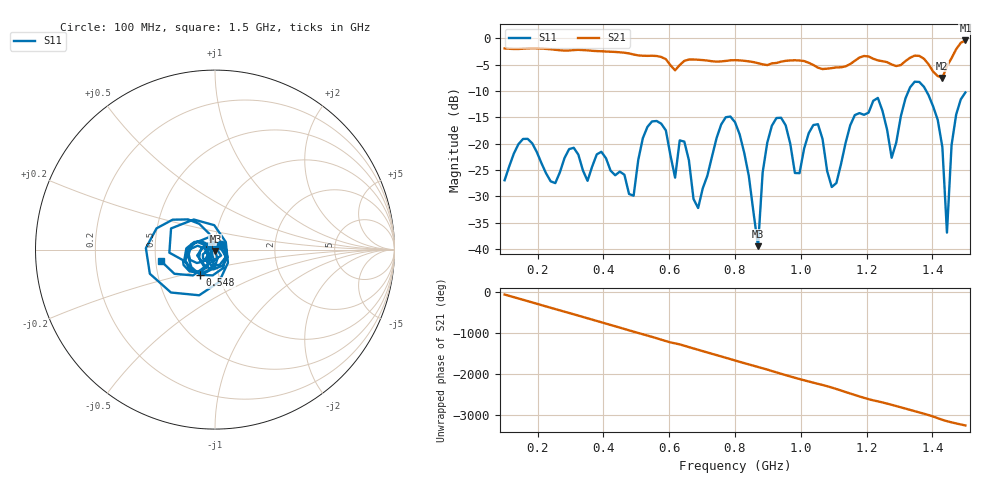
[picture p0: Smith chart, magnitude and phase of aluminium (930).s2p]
! NanoVNA-App
! Date: 2025-09-25 15:02:31
! Start: 100MHz Stop: 1,5GHz Points: 101
! S-Parameter data: F S11 S21 S12 S22
# Hz S RI R 50
!  Frequency  S11_Real  S11_Imag  S21_Real  S21_Imag  S12_Real  S12_Imag  S22_Real  S22_Imag
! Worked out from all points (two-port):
!   101 points, 100 MHz to 1.5 GHz, reference 50 ohm
!   highest |S21| = -0.41 dB at 1.5 GHz (marker M1); lowest = -7.5 dB at 1.43 GHz (marker M2)
!   |S21| within 3 dB of the highest: start of sweep to 565.8 MHz; 1.461 GHz to end of sweep (the widest 2 of 4)
!   lowest |S11| = -39.5 dB at 870 MHz (marker M3), VSWR 1.02, Z = 50.2 - j1.04 ohm
!   |S11| at or under -10 dB: start of sweep to 1.327 GHz; 1.381 GHz to end of sweep
!   S12 and S22 are empty: the file has one direction only
!   S11 on the Smith chart (normalised r, x): 100 MHz: 1.07, +0.06; 548 MHz: 0.82, -0.24; 1.5 GHz: 0.54, -0.08
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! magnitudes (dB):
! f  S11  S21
! 100 MHz  -27.0  -1.9
! 156 MHz  -19.1  -2.0
! 338 MHz  -25.1  -2.2
! 492 MHz  -29.9  -3.1
! 548 MHz  -15.8  -3.3
! 576 MHz  -16.2  -3.5
! 618 MHz  -26.5  -6.1
! 646 MHz  -19.6  -4.3
! 688 MHz  -32.2  -4.1
! 800 MHz  -15.9  -4.1
! 870 MHz  -39.5  -4.7
! 912 MHz  -16.6  -4.8
! 996 MHz  -25.6  -4.2
! 1.038 GHz  -16.5  -5.1
! 1.094 GHz  -28.2  -5.7
! 1.234 GHz  -11.3  -4.2
! 1.276 GHz  -22.7  -5.0
! 1.346 GHz  -8.2  -3.3
! 1.43 GHz  -20.6  -7.5
! 1.444 GHz  -36.9  -5.3
! 1.458 GHz  -20.3  -3.8
! 1.5 GHz  -10.3  -0.4
